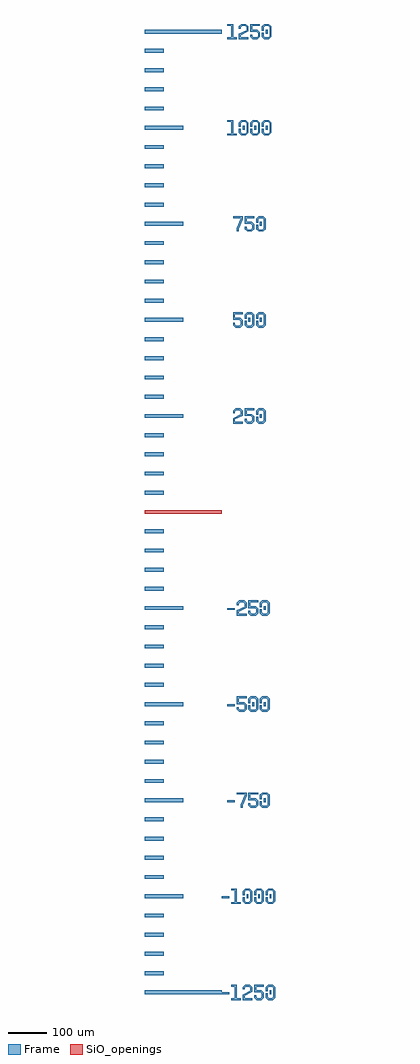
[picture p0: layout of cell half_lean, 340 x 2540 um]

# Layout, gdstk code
import gdstk
lib = gdstk.Library(unit=1e-6, precision=1e-09)
def R(c, l, rs):  # rectangles x0, y0, x1, y1
    for r in rs: c.add(gdstk.rectangle(r[:2], r[2:], *l))
def A(c, l, x, y, w, h, nx, ny, dx, dy):  # array of equal rectangles
    R(c, l, [(x+i*dx, y+j*dy, x+i*dx+w, y+j*dy+h) for i in range(nx) for j in range(ny)])
def P(c, l, *ps):  # polygons
    for p in ps: c.add(gdstk.Polygon(p, *l))
Frame = (1, 0)
SiO_openings = (2, 0)

half_lean = lib.new_cell('half_lean')
A(half_lean, Frame, 0, -1205, 50, 10, 1, 4, 0, 50)
A(half_lean, Frame, 0, -1005, 100, 10, 1, 4, 0, 250)
A(half_lean, Frame, 265, -1005, 5, 10, 3, 1, 30, 0)
A(half_lean, Frame, 0, -955, 50, 10, 1, 4, 0, 50)
A(half_lean, Frame, 215, -755, 20, 5, 1, 3, 0, 250)
A(half_lean, Frame, 310, -755, 5, 10, 1, 3, 0, 250)
A(half_lean, Frame, 0, -705, 50, 10, 1, 4, 0, 50)
A(half_lean, Frame, 0, -455, 50, 10, 1, 4, 0, 50)
A(half_lean, Frame, 0, -205, 50, 10, 1, 4, 0, 50)
A(half_lean, Frame, 0, 45, 50, 10, 1, 4, 0, 50)
A(half_lean, Frame, 0, 245, 100, 10, 1, 4, 0, 250)
A(half_lean, Frame, 300, 245, 5, 10, 1, 3, 0, 250)
A(half_lean, Frame, 0, 295, 50, 10, 1, 4, 0, 50)
A(half_lean, Frame, 0, 545, 50, 10, 1, 4, 0, 50)
A(half_lean, Frame, 0, 795, 50, 10, 1, 4, 0, 50)
A(half_lean, Frame, 255, 995, 5, 10, 3, 1, 30, 0)
A(half_lean, Frame, 0, 1045, 50, 10, 1, 4, 0, 50)
R(half_lean, Frame, [(0,-1255,200,-1245), (200,-1255,220,-1250), (325,-1255,330,-1245), (200,-1005,220,-1000), (280,-505,285,-495), (270,495,275,505), (0,1245,200,1255), (315,1245,320,1255)])
P(half_lean, Frame, [(215,1230),(215,1235),(225,1235),(225,1265),(215,1265),(215,1270),(230,1270),(230,1235),(240,1235),(240,1230)],
  [(245,1230),(245,1244.045),(265,1254.045),(265,1261.464),(261.464,1265),(253.536,1265),(250,1261.464),(250,1257.5),(245,1257.5),(245,1263.536),(251.464,1270),(263.536,1270),(270,1263.536),(270,1250.955),(250,1240.955),(250,1235),(270,1235),(270,1230)],
  [(281.464,1230),(275,1236.464),(275,1242.5),(280,1242.5),(280,1238.536),(283.536,1235),(291.464,1235),(295,1238.536),(295,1246.464),(291.464,1250),(275,1250),(275,1270),(300,1270),(300,1265),(280,1265),(280,1255),(293.536,1255),(300,1248.536),(300,1236.464),(293.536,1230)],
  [(311.464,1230),(305,1236.464),(305,1247.5),(310,1247.5),(310,1238.536),(313.536,1235),(321.464,1235),(325,1238.536),(325,1261.464),(321.464,1265),(313.536,1265),(310,1261.464),(310,1252.5),(305,1252.5),(305,1263.536),(311.464,1270),(323.536,1270),(330,1263.536),(330,1236.464),(323.536,1230)],
  [(225,-1270),(225,-1265),(235,-1265),(235,-1235),(225,-1235),(225,-1230),(240,-1230),(240,-1265),(250,-1265),(250,-1270)],
  [(255,-1270),(255,-1255.955),(275,-1245.955),(275,-1238.536),(271.464,-1235),(263.536,-1235),(260,-1238.536),(260,-1242.5),(255,-1242.5),(255,-1236.464),(261.464,-1230),(273.536,-1230),(280,-1236.464),(280,-1249.045),(260,-1259.045),(260,-1265),(280,-1265),(280,-1270)],
  [(291.464,-1270),(285,-1263.536),(285,-1257.5),(290,-1257.5),(290,-1261.464),(293.536,-1265),(301.464,-1265),(305,-1261.464),(305,-1253.536),(301.464,-1250),(285,-1250),(285,-1230),(310,-1230),(310,-1235),(290,-1235),(290,-1245),(303.536,-1245),(310,-1251.464),(310,-1263.536),(303.536,-1270)],
  [(321.464,-1270),(315,-1263.536),(315,-1252.5),(320,-1252.5),(320,-1261.464),(323.536,-1265),(331.464,-1265),(335,-1261.464),(335,-1238.536),(331.464,-1235),(323.536,-1235),(320,-1238.536),(320,-1247.5),(315,-1247.5),(315,-1236.464),(321.464,-1230),(333.536,-1230),(340,-1236.464),(340,-1263.536),(333.536,-1270)],
  [(215,980),(215,985),(225,985),(225,1015),(215,1015),(215,1020),(230,1020),(230,985),(240,985),(240,980)],
  [(251.464,980),(245,986.464),(245,997.5),(250,997.5),(250,988.536),(253.536,985),(261.464,985),(265,988.536),(265,1011.464),(261.464,1015),(253.536,1015),(250,1011.464),(250,1002.5),(245,1002.5),(245,1013.536),(251.464,1020),(263.536,1020),(270,1013.536),(270,986.464),(263.536,980)],
  [(281.464,980),(275,986.464),(275,997.5),(280,997.5),(280,988.536),(283.536,985),(291.464,985),(295,988.536),(295,1011.464),(291.464,1015),(283.536,1015),(280,1011.464),(280,1002.5),(275,1002.5),(275,1013.536),(281.464,1020),(293.536,1020),(300,1013.536),(300,986.464),(293.536,980)],
  [(311.464,980),(305,986.464),(305,997.5),(310,997.5),(310,988.536),(313.536,985),(321.464,985),(325,988.536),(325,1011.464),(321.464,1015),(313.536,1015),(310,1011.464),(310,1002.5),(305,1002.5),(305,1013.536),(311.464,1020),(323.536,1020),(330,1013.536),(330,986.464),(323.536,980)],
  [(225,-1020),(225,-1015),(235,-1015),(235,-985),(225,-985),(225,-980),(240,-980),(240,-1015),(250,-1015),(250,-1020)],
  [(261.464,-1020),(255,-1013.536),(255,-1002.5),(260,-1002.5),(260,-1011.464),(263.536,-1015),(271.464,-1015),(275,-1011.464),(275,-988.536),(271.464,-985),(263.536,-985),(260,-988.536),(260,-997.5),(255,-997.5),(255,-986.464),(261.464,-980),(273.536,-980),(280,-986.464),(280,-1013.536),(273.536,-1020)],
  [(291.464,-1020),(285,-1013.536),(285,-1002.5),(290,-1002.5),(290,-1011.464),(293.536,-1015),(301.464,-1015),(305,-1011.464),(305,-988.536),(301.464,-985),(293.536,-985),(290,-988.536),(290,-997.5),(285,-997.5),(285,-986.464),(291.464,-980),(303.536,-980),(310,-986.464),(310,-1013.536),(303.536,-1020)],
  [(321.464,-1020),(315,-1013.536),(315,-1002.5),(320,-1002.5),(320,-1011.464),(323.536,-1015),(331.464,-1015),(335,-1011.464),(335,-988.536),(331.464,-985),(323.536,-985),(320,-988.536),(320,-997.5),(315,-997.5),(315,-986.464),(321.464,-980),(333.536,-980),(340,-986.464),(340,-1013.536),(333.536,-1020)],
  [(240,730),(240,737.981),(250,762.981),(250,765),(230,765),(230,770),(255,770),(255,762.019),(245,737.019),(245,730)],
  [(266.464,730),(260,736.464),(260,742.5),(265,742.5),(265,738.536),(268.536,735),(276.464,735),(280,738.536),(280,746.464),(276.464,750),(260,750),(260,770),(285,770),(285,765),(265,765),(265,755),(278.536,755),(285,748.536),(285,736.464),(278.536,730)],
  [(296.464,730),(290,736.464),(290,747.5),(295,747.5),(295,738.536),(298.536,735),(306.464,735),(310,738.536),(310,761.464),(306.464,765),(298.536,765),(295,761.464),(295,752.5),(290,752.5),(290,763.536),(296.464,770),(308.536,770),(315,763.536),(315,736.464),(308.536,730)],
  [(250,-770),(250,-762.019),(260,-737.019),(260,-735),(240,-735),(240,-730),(265,-730),(265,-737.981),(255,-762.981),(255,-770)],
  [(276.464,-770),(270,-763.536),(270,-757.5),(275,-757.5),(275,-761.464),(278.536,-765),(286.464,-765),(290,-761.464),(290,-753.536),(286.464,-750),(270,-750),(270,-730),(295,-730),(295,-735),(275,-735),(275,-745),(288.536,-745),(295,-751.464),(295,-763.536),(288.536,-770)],
  [(306.464,-770),(300,-763.536),(300,-752.5),(305,-752.5),(305,-761.464),(308.536,-765),(316.464,-765),(320,-761.464),(320,-738.536),(316.464,-735),(308.536,-735),(305,-738.536),(305,-747.5),(300,-747.5),(300,-736.464),(306.464,-730),(318.536,-730),(325,-736.464),(325,-763.536),(318.536,-770)],
  [(236.464,480),(230,486.464),(230,492.5),(235,492.5),(235,488.536),(238.536,485),(246.464,485),(250,488.536),(250,496.464),(246.464,500),(230,500),(230,520),(255,520),(255,515),(235,515),(235,505),(248.536,505),(255,498.536),(255,486.464),(248.536,480)],
  [(266.464,480),(260,486.464),(260,497.5),(265,497.5),(265,488.536),(268.536,485),(276.464,485),(280,488.536),(280,511.464),(276.464,515),(268.536,515),(265,511.464),(265,502.5),(260,502.5),(260,513.536),(266.464,520),(278.536,520),(285,513.536),(285,486.464),(278.536,480)],
  [(296.464,480),(290,486.464),(290,497.5),(295,497.5),(295,488.536),(298.536,485),(306.464,485),(310,488.536),(310,511.464),(306.464,515),(298.536,515),(295,511.464),(295,502.5),(290,502.5),(290,513.536),(296.464,520),(308.536,520),(315,513.536),(315,486.464),(308.536,480)],
  [(246.464,-520),(240,-513.536),(240,-507.5),(245,-507.5),(245,-511.464),(248.536,-515),(256.464,-515),(260,-511.464),(260,-503.536),(256.464,-500),(240,-500),(240,-480),(265,-480),(265,-485),(245,-485),(245,-495),(258.536,-495),(265,-501.464),(265,-513.536),(258.536,-520)],
  [(276.464,-520),(270,-513.536),(270,-502.5),(275,-502.5),(275,-511.464),(278.536,-515),(286.464,-515),(290,-511.464),(290,-488.536),(286.464,-485),(278.536,-485),(275,-488.536),(275,-497.5),(270,-497.5),(270,-486.464),(276.464,-480),(288.536,-480),(295,-486.464),(295,-513.536),(288.536,-520)],
  [(306.464,-520),(300,-513.536),(300,-502.5),(305,-502.5),(305,-511.464),(308.536,-515),(316.464,-515),(320,-511.464),(320,-488.536),(316.464,-485),(308.536,-485),(305,-488.536),(305,-497.5),(300,-497.5),(300,-486.464),(306.464,-480),(318.536,-480),(325,-486.464),(325,-513.536),(318.536,-520)],
  [(230,230),(230,244.045),(250,254.045),(250,261.464),(246.464,265),(238.536,265),(235,261.464),(235,257.5),(230,257.5),(230,263.536),(236.464,270),(248.536,270),(255,263.536),(255,250.955),(235,240.955),(235,235),(255,235),(255,230)],
  [(266.464,230),(260,236.464),(260,242.5),(265,242.5),(265,238.536),(268.536,235),(276.464,235),(280,238.536),(280,246.464),(276.464,250),(260,250),(260,270),(285,270),(285,265),(265,265),(265,255),(278.536,255),(285,248.536),(285,236.464),(278.536,230)],
  [(296.464,230),(290,236.464),(290,247.5),(295,247.5),(295,238.536),(298.536,235),(306.464,235),(310,238.536),(310,261.464),(306.464,265),(298.536,265),(295,261.464),(295,252.5),(290,252.5),(290,263.536),(296.464,270),(308.536,270),(315,263.536),(315,236.464),(308.536,230)],
  [(240,-270),(240,-255.955),(260,-245.955),(260,-238.536),(256.464,-235),(248.536,-235),(245,-238.536),(245,-242.5),(240,-242.5),(240,-236.464),(246.464,-230),(258.536,-230),(265,-236.464),(265,-249.045),(245,-259.045),(245,-265),(265,-265),(265,-270)],
  [(276.464,-270),(270,-263.536),(270,-257.5),(275,-257.5),(275,-261.464),(278.536,-265),(286.464,-265),(290,-261.464),(290,-253.536),(286.464,-250),(270,-250),(270,-230),(295,-230),(295,-235),(275,-235),(275,-245),(288.536,-245),(295,-251.464),(295,-263.536),(288.536,-270)],
  [(306.464,-270),(300,-263.536),(300,-252.5),(305,-252.5),(305,-261.464),(308.536,-265),(316.464,-265),(320,-261.464),(320,-238.536),(316.464,-235),(308.536,-235),(305,-238.536),(305,-247.5),(300,-247.5),(300,-236.464),(306.464,-230),(318.536,-230),(325,-236.464),(325,-263.536),(318.536,-270)])
R(half_lean, SiO_openings, [(0,-5,200,5)])

lib.write_gds('half_lean.gds')
